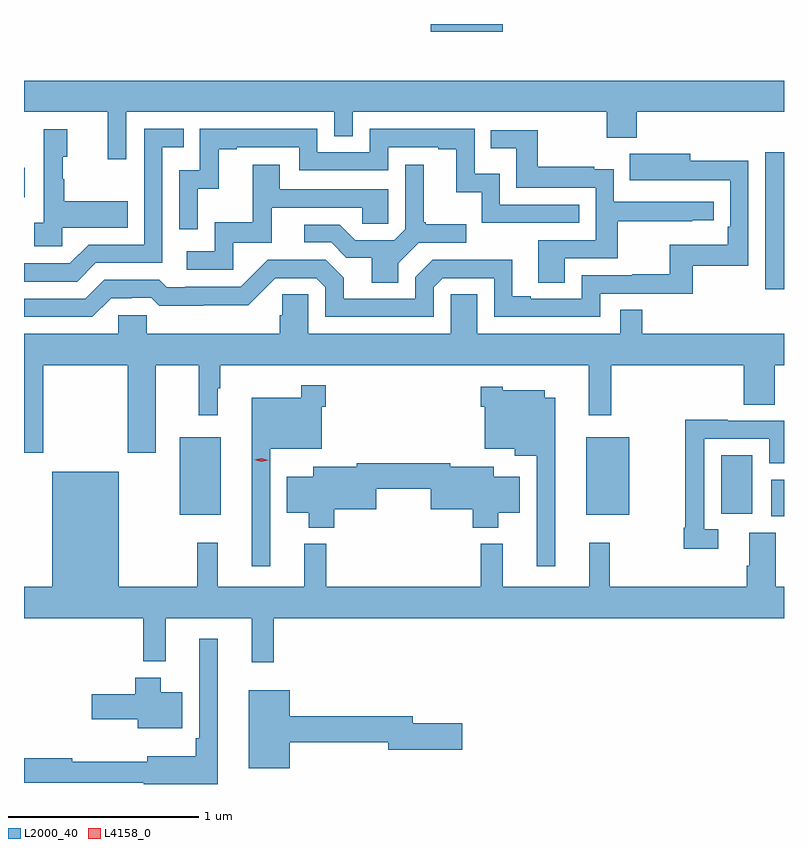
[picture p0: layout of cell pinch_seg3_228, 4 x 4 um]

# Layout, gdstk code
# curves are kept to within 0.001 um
import gdstk
lib = gdstk.Library(unit=1e-6, precision=1e-09)
def R(c, l, rs):  # rectangles x0, y0, x1, y1
    for r in rs: c.add(gdstk.rectangle(r[:2], r[2:], *l))
def P(c, l, *ps):  # polygons
    for p in ps: c.add(gdstk.Polygon(p, *l))
L2000_40 = (2000, 40)
L4158_0 = (4158, 0)

pinch_seg3_228 = lib.new_cell('pinch_seg3_228')
R(pinch_seg3_228, L2000_40, [(926.376,737.415,926.444,737.609), (923.264,737.423,923.479,737.833), (925.403,737.423,925.63,737.833), (926.114,737.43,926.278,737.737), (926.345,738.612,926.444,739.333), (922.444,739.096,922.447,739.251), (924.584,739.967,924.964,740.007)])
P(pinch_seg3_228, L2000_40, [(922.983,739.544),(924.078,739.544),(924.078,739.417),(924.174,739.417),(924.174,739.544),(925.51,739.544),(925.51,739.409),(925.67,739.409),(925.67,739.544),(926.444,739.544),(926.444,739.708),(922.444,739.708),(922.444,739.544),(922.886,739.544),(922.886,739.296),(922.983,739.296)],
  [(923.358,739.139),(923.468,739.139),(923.468,739.347),(923.563,739.347),(923.563,739.359),(923.892,739.359),(923.892,739.236),(924.36,739.236),(924.36,739.359),(924.623,739.359),(924.623,739.347),(924.719,739.347),(924.719,739.121),(924.852,739.121),(924.852,738.96),(925.367,738.96),(925.367,739.056),(924.948,739.056),(924.948,739.219),(924.816,739.219),(924.816,739.455),(924.264,739.455),(924.264,739.332),(923.988,739.332),(923.988,739.455),(923.37,739.455),(923.37,739.236),(923.262,739.236),(923.262,738.927),(923.358,738.927)],
  [(922.822,738.75),(923.172,738.75),(923.172,739.359),(923.285,739.359),(923.285,739.455),(923.076,739.455),(923.076,738.846),(922.785,738.846),(922.686,738.747),(922.444,738.747),(922.444,738.651),(922.723,738.651)],
  [(922.644,738.935),(922.991,738.935),(922.991,739.075),(922.657,739.075),(922.657,739.19),(922.647,739.19),(922.647,739.308),(922.672,739.308),(922.672,739.453),(922.548,739.453),(922.548,738.962),(922.497,738.962),(922.497,738.837),(922.644,738.837)],
  [(925.291,738.774),(925.568,738.774),(925.568,738.97),(925.961,738.97),(925.961,738.975),(926.074,738.975),(926.074,739.071),(925.548,739.071),(925.548,739.243),(925.445,739.243),(925.445,739.255),(925.147,739.255),(925.147,739.449),(924.901,739.449),(924.901,739.352),(925.036,739.352),(925.036,739.146),(925.452,739.146),(925.452,738.87),(925.151,738.87),(925.151,738.646),(925.291,738.646)],
  [(922.903,738.564),(923.01,738.564),(923.01,738.567),(923.113,738.567),(923.155,738.525),(923.388,738.525),(923.388,738.527),(923.624,738.527),(923.766,738.669),(923.982,738.669),(924.03,738.621),(924.03,738.465),(924.6,738.465),(924.6,738.621),(924.648,738.669),(924.918,738.669),(924.918,738.465),(925.476,738.465),(925.476,738.588),(925.963,738.588),(925.963,738.735),(926.256,738.735),(926.256,739.286),(925.951,739.286),(925.951,739.324),(925.633,739.324),(925.633,739.184),(926.16,739.185),(926.16,738.94),(926.147,738.94),(926.147,738.844),(925.842,738.844),(925.842,738.689),(925.645,738.689),(925.645,738.684),(925.38,738.684),(925.38,738.561),(925.111,738.561),(925.111,738.574),(925.015,738.574),(925.015,738.767),(924.81,738.767),(924.81,738.765),(924.594,738.765),(924.504,738.675),(924.504,738.561),(924.127,738.561),(924.127,738.671),(924.033,738.765),(923.727,738.765),(923.586,738.624),(923.293,738.624),(923.293,738.621),(923.194,738.621),(923.155,738.66),(922.866,738.66),(922.767,738.561),(922.444,738.561),(922.444,738.465),(922.804,738.465)],
  [(923.544,738.855),(923.749,738.855),(923.749,739.041),(924.223,739.041),(924.223,738.957),(924.36,738.957),(924.36,739.137),(923.791,739.137),(923.791,739.267),(923.647,739.267),(923.647,738.964),(923.448,738.964),(923.448,738.81),(923.301,738.81),(923.301,738.714),(923.544,738.714)],
  [(924.415,738.748),(924.522,738.855),(924.772,738.855),(924.772,738.952),(924.559,738.952),(924.559,738.964),(924.547,738.964),(924.547,739.267),(924.45,739.267),(924.45,738.927),(924.393,738.87),(924.187,738.87),(924.106,738.951),(923.919,738.951),(923.919,738.858),(924.06,738.858),(924.14,738.778),(924.275,738.778),(924.275,738.646),(924.415,738.646)],
  [(922.545,738.212),(922.99,738.212),(922.99,737.751),(923.137,737.751),(923.137,738.212),(923.365,738.212),(923.365,737.949),(923.464,737.949),(923.464,738.089),(923.476,738.089),(923.476,738.212),(925.417,738.212),(925.417,737.949),(925.535,737.949),(925.535,738.212),(926.231,738.212),(926.231,738.004),(926.396,738.004),(926.396,738.212),(926.444,738.212),(926.444,738.376),(925.697,738.376),(925.697,738.503),(925.581,738.503),(925.581,738.376),(924.829,738.376),(924.829,738.584),(924.69,738.584),(924.69,738.376),(923.94,738.376),(923.94,738.584),(923.803,738.584),(923.803,738.474),(923.789,738.474),(923.789,738.376),(923.091,738.376),(923.091,738.474),(922.941,738.474),(922.941,738.376),(922.444,738.376),(922.444,737.751),(922.545,737.751)],
  [(923.739,737.771),(924.012,737.771),(924.012,737.993),(924.032,737.993),(924.032,738.106),(923.904,738.106),(923.904,738.04),(923.642,738.04),(923.642,737.154),(923.739,737.154)],
  [(925.24,738.04),(925.186,738.04),(925.186,738.079),(924.963,738.079),(924.963,738.097),(924.848,738.097),(924.848,737.993),(924.869,737.993),(924.869,737.771),(925.028,737.771),(925.028,737.735),(925.143,737.735),(925.143,737.154),(925.24,737.154)],
  [(926.098,737.349),(926.025,737.349),(926.025,737.823),(926.367,737.823),(926.367,737.694),(926.444,737.694),(926.444,737.919),(926.147,737.919),(926.147,737.924),(925.924,737.924),(925.924,737.356),(925.917,737.356),(925.917,737.244),(926.098,737.244)],
  [(924.077,737.453),(924.298,737.453),(924.298,737.56),(924.584,737.56),(924.584,737.453),(924.806,737.453),(924.806,737.357),(924.94,737.357),(924.94,737.435),(925.054,737.435),(925.054,737.623),(924.916,737.623),(924.916,737.677),(924.688,737.677),(924.688,737.696),(924.194,737.696),(924.194,737.677),(923.966,737.677),(923.966,737.623),(923.828,737.623),(923.828,737.435),(923.942,737.435),(923.942,737.357),(924.077,737.357)],
  [(923.355,737.278),(923.355,737.044),(922.942,737.044),(922.942,737.65),(922.592,737.65),(922.592,737.044),(922.444,737.044),(922.444,736.88),(923.071,736.88),(923.071,736.652),(923.189,736.652),(923.189,736.88),(923.642,736.88),(923.642,736.647),(923.759,736.647),(923.759,736.88),(926.444,736.88),(926.444,737.044),(926.401,737.044),(926.401,737.33),(926.261,737.33),(926.261,737.156),(926.249,737.156),(926.249,737.044),(925.528,737.044),(925.528,737.278),(925.418,737.278),(925.418,737.044),(924.965,737.044),(924.965,737.272),(924.847,737.272),(924.847,737.044),(924.035,737.044),(924.035,737.272),(923.918,737.272),(923.918,737.044),(923.465,737.044),(923.465,737.278)],
  [(923.464,736.771),(923.367,736.771),(923.367,736.249),(923.347,736.249),(923.347,736.153),(923.093,736.153),(923.093,736.125),(922.697,736.125),(922.697,736.142),(922.444,736.142),(922.444,736.014),(923.074,736.014),(923.074,736.007),(923.464,736.007)],
  [(923.278,736.489),(923.164,736.489),(923.164,736.567),(923.03,736.567),(923.03,736.479),(922.8,736.479),(922.8,736.349),(923.042,736.349),(923.042,736.301),(923.278,736.301)],
  [(923.842,736.228),(924.362,736.228),(924.362,736.186),(924.751,736.186),(924.751,736.328),(924.49,736.328),(924.49,736.364),(923.842,736.364),(923.842,736.501),(923.627,736.501),(923.627,736.091),(923.842,736.091)])
P(pinch_seg3_228, L4158_0, [(923.693,737.702),(923.657,737.713),(923.657,737.714),(923.657,737.714),(923.694,737.722),(923.729,737.71),(923.729,737.71),(923.729,737.71)])

lib.write_gds('pinch_seg3_228.gds')
